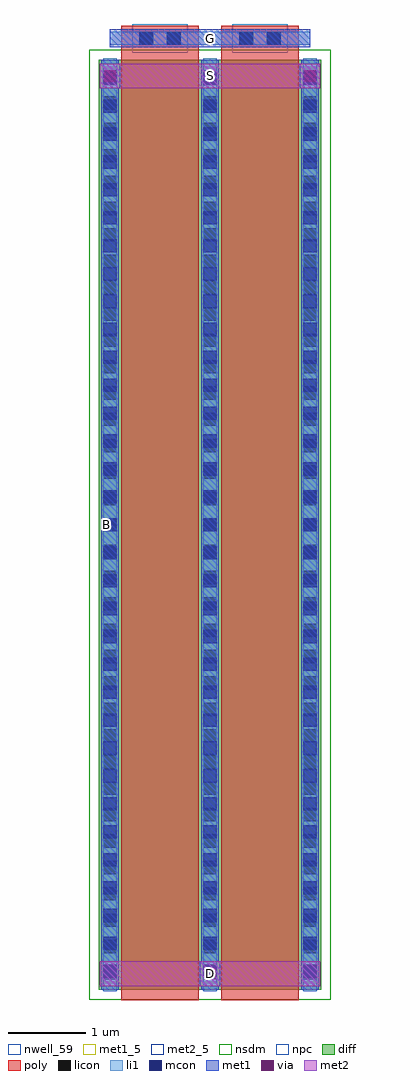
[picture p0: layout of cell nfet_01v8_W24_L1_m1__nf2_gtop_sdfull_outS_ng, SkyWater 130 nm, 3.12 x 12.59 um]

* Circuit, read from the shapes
.subckt nfet_01v8_W24_L1_m1__nf2_gtop_sdfull_outS_ng B D G S
XM1 D G S B sky130_fd_pr__nfet_01v8 w=12 l=1 m=2
.ends

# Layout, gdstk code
import gdstk
lib = gdstk.Library(unit=1e-6, precision=1e-09)
def R(c, l, rs):  # rectangles x0, y0, x1, y1
    for r in rs: c.add(gdstk.rectangle(r[:2], r[2:], *l))
def A(c, l, x, y, w, h, nx, ny, dx, dy):  # array of equal rectangles
    R(c, l, [(x+i*dx, y+j*dy, x+i*dx+w, y+j*dy+h) for i in range(nx) for j in range(ny)])
nwell_59 = (64, 59)
diff = (65, 20)
poly = (66, 20)
licon = (66, 44)
li1 = (67, 20)
mcon = (67, 44)
met1_5 = (68, 5)
met1 = (68, 20)
via = (68, 44)
met2_5 = (69, 5)
met2 = (69, 20)
nsdm = (93, 44)
npc = (95, 20)

sky130_fd_pr__nfet_01v8_ = lib.new_cell('sky130_fd_pr__nfet_01v8_9RJRPW')
R(sky130_fd_pr__nfet_01v8_, diff, [(-1.435,-6.155,1.435,5.845)])
R(sky130_fd_pr__nfet_01v8_, poly, [(-1.145,-6.285,-0.145,6.285), (0.145,-6.285,1.145,6.285)])
A(sky130_fd_pr__nfet_01v8_, licon, -1.375, -6.02, 0.17, 0.17, 3, 35, 1.29, 0.34)
R(sky130_fd_pr__nfet_01v8_, licon, [(-0.9,6.035,-0.73,6.205), (-0.56,6.035,-0.39,6.205), (0.39,6.035,0.56,6.205), (0.73,6.035,0.9,6.205)])
A(sky130_fd_pr__nfet_01v8_, li1, -1.375, -6.175, 0.17, 12.04, 3, 1, 1.29, 0)
R(sky130_fd_pr__nfet_01v8_, li1, [(-1.29,6.035,1.29,6.205)])
A(sky130_fd_pr__nfet_01v8_, mcon, -1.375, -6, 0.17, 0.17, 3, 33, 1.29, 0.36)
R(sky130_fd_pr__nfet_01v8_, mcon, [(-0.91,6.035,-0.74,6.205), (-0.55,6.035,-0.38,6.205), (0.38,6.035,0.55,6.205), (0.74,6.035,0.91,6.205)])
A(sky130_fd_pr__nfet_01v8_, met1, -1.405, -6.155, 0.23, 12, 3, 1, 1.29, 0)
R(sky130_fd_pr__nfet_01v8_, met1, [(-1.125,6.005,-0.165,6.035), (0.165,6.005,1.125,6.035), (-1.29,6.035,1.29,6.205), (-1.125,6.205,-0.165,6.235), (0.165,6.205,1.125,6.235)])
R(sky130_fd_pr__nfet_01v8_, nsdm, [(-1.56,-6.28,1.56,5.97)])
R(sky130_fd_pr__nfet_01v8_, npc, [(-1,5.935,-0.29,6.305), (0.29,5.935,1,6.305)])
sky130_fd_pr__nfet_01v8_.add(gdstk.Label('D0', (-1.29,-0.155), layer=67, texttype=5))
sky130_fd_pr__nfet_01v8_.add(gdstk.Label('G', (0.645,6.12), layer=67, texttype=5))
sky130_fd_pr__nfet_01v8_.add(gdstk.Label('G', (-0.645,6.12), layer=67, texttype=5))
sky130_fd_pr__nfet_01v8_.add(gdstk.Label('S1', (0,-0.155), layer=67, texttype=5))

nfet_01v8_w24_l1_m1__nf2 = lib.new_cell('nfet_01v8_W24_L1_m1__nf2_gtop_sdfull_outS_ng')
R(nfet_01v8_w24_l1_m1__nf2, nwell_59, [(0.05,6.08,0.15,6.18)])
R(nfet_01v8_w24_l1_m1__nf2, met1_5, [(0.145,12.29,2.725,12.52)])
R(nfet_01v8_w24_l1_m1__nf2, met1, [(1.305,0.18,1.565,0.5), (0.015,11.76,0.275,12.08), (2.595,11.76,2.855,12.08), (0.145,12.29,2.725,12.52)])
R(nfet_01v8_w24_l1_m1__nf2, via, [(1.36,0.265,1.51,0.415), (0.07,11.845,0.22,11.995), (2.65,11.845,2.8,11.995)])
R(nfet_01v8_w24_l1_m1__nf2, met2_5, [(0.01,0.18,2.86,0.5), (0.01,11.76,2.86,12.08)])
R(nfet_01v8_w24_l1_m1__nf2, met2, [(0.01,0.18,2.86,0.5), (0.01,11.76,2.86,12.08)])
nfet_01v8_w24_l1_m1__nf2.add(gdstk.Reference(sky130_fd_pr__nfet_01v8_, (1.435,6.285)))
nfet_01v8_w24_l1_m1__nf2.add(gdstk.Label('S', (1.435,11.92), layer=69, texttype=5))
nfet_01v8_w24_l1_m1__nf2.add(gdstk.Label('D', (1.435,0.34), layer=69, texttype=5))
nfet_01v8_w24_l1_m1__nf2.add(gdstk.Label('G', (1.435,12.405), layer=68, texttype=5))
nfet_01v8_w24_l1_m1__nf2.add(gdstk.Label('B', (0.1,6.13), layer=64, texttype=59))

lib.write_gds('nfet_01v8_W24_L1_m1__nf2_gtop_sdfull_outS_ng.gds')
